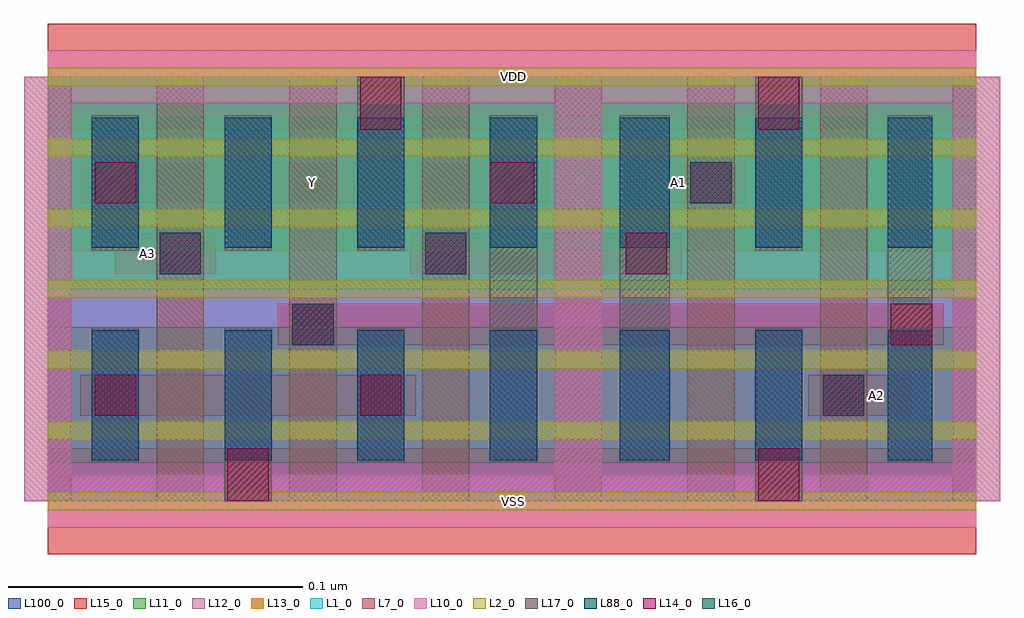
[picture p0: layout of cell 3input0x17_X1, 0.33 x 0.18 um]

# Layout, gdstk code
import gdstk
lib = gdstk.Library(unit=1e-6, precision=1e-09)
def R(c, l, rs):  # rectangles x0, y0, x1, y1
    for r in rs: c.add(gdstk.rectangle(r[:2], r[2:], *l))
def A(c, l, x, y, w, h, nx, ny, dx, dy):  # array of equal rectangles
    R(c, l, [(x+i*dx, y+j*dy, x+i*dx+w, y+j*dy+h) for i in range(nx) for j in range(ny)])
def P(c, l, *ps):  # polygons
    for p in ps: c.add(gdstk.Polygon(p, *l))
L1_0 = (1, 0)
L2_0 = (2, 0)
L7_0 = (7, 0)
L10_0 = (10, 0)
L11_0 = (11, 0)
L12_0 = (12, 0)
L13_0 = (13, 0)
L14_0 = (14, 0)
L15_0 = (15, 0)
L16_0 = (16, 0)
L17_0 = (17, 0)
L88_0 = (88, 0)
L100_0 = (100, 0)

c_3input0x17_x1 = lib.new_cell('3input0x17_X1')
R(c_3input0x17_x1, L1_0, [(0,0.072,0.315,0.144)])
A(c_3input0x17_x1, L2_0, 0, -0.003, 0.315, 0.006, 1, 7, 0, 0.024)
A(c_3input0x17_x1, L7_0, -0.008, 0, 0.016, 0.144, 8, 1, 0.045, 0)
P(c_3input0x17_x1, L10_0, [(0,-0.009),(0,0),(-0.008,0),(-0.008,0.135),(0.008,0.135),(0.008,0.009),(0.172,0.009),(0.172,0.135),(0.188,0.135),(0.188,0.009),(0.307,0.009),(0.307,0.135),(-0.008,0.135),(-0.008,0.144),(0,0.144),(0,0.153),(0.315,0.153),(0.315,0.144),(0.323,0.144),(0.323,0),(0.315,0),(0.315,-0.009)])
R(c_3input0x17_x1, L11_0, [(0,0.013,0.315,0.059), (0,0.085,0.315,0.131)])
R(c_3input0x17_x1, L12_0, [(0,0,0.315,0.072)])
R(c_3input0x17_x1, L13_0, [(0,0.072,0.315,0.144)])
R(c_3input0x17_x1, L14_0, [(0.061,0,0.075,0.018), (0.241,0,0.255,0.018), (0.016,0.029,0.03,0.043), (0.106,0.029,0.12,0.043), (0.263,0.029,0.277,0.043), (0.083,0.053,0.097,0.067), (0.286,0.053,0.3,0.067), (0.038,0.077,0.052,0.091), (0.128,0.077,0.142,0.091), (0.196,0.077,0.21,0.091), (0.016,0.101,0.03,0.115), (0.15,0.101,0.165,0.115), (0.218,0.101,0.232,0.115), (0.106,0.126,0.12,0.144), (0.241,0.126,0.255,0.144)])
R(c_3input0x17_x1, L15_0, [(0,-0.018,0.315,0.018), (0.011,0.029,0.125,0.043), (0.258,0.029,0.293,0.043), (0.078,0.053,0.304,0.067), (0.023,0.077,0.057,0.091), (0.123,0.077,0.215,0.091), (0.011,0.101,0.17,0.115), (0.203,0.101,0.237,0.115), (0,0.126,0.315,0.162)])
R(c_3input0x17_x1, L16_0, [(0.263,0.029,0.277,0.043), (0.083,0.053,0.097,0.067), (0.038,0.077,0.052,0.091), (0.128,0.077,0.142,0.091), (0.218,0.101,0.232,0.115)])
R(c_3input0x17_x1, L17_0, [(0.06,0,0.076,0.059), (0.24,0,0.256,0.059), (0.015,0.013,0.031,0.059), (0.105,0.013,0.121,0.059), (0.15,0.013,0.166,0.131), (0.194,0.013,0.211,0.131), (0.285,0.013,0.3,0.131), (0.015,0.085,0.031,0.131), (0.06,0.085,0.076,0.131), (0.105,0.085,0.121,0.144), (0.24,0.085,0.256,0.144)])
A(c_3input0x17_x1, L88_0, 0.015, 0.014, 0.016, 0.044, 4, 2, 0.045, 0.072)
R(c_3input0x17_x1, L88_0, [(0.194,0.014,0.211,0.058), (0.24,0.014,0.256,0.058), (0.285,0.014,0.3,0.058), (0.194,0.086,0.211,0.13), (0.24,0.086,0.256,0.13), (0.285,0.086,0.3,0.13)])
R(c_3input0x17_x1, L100_0, [(0,0,0.315,0.144)])
c_3input0x17_x1.add(gdstk.Label('A2', (0.281,0.036), layer=15, texttype=251))
c_3input0x17_x1.add(gdstk.Label('VSS', (0.158,0), layer=15, texttype=251))
c_3input0x17_x1.add(gdstk.Label('VDD', (0.158,0.144), layer=15, texttype=251))
c_3input0x17_x1.add(gdstk.Label('Y', (0.09,0.108), layer=15, texttype=251))
c_3input0x17_x1.add(gdstk.Label('VSS', (0.158,0), layer=15, texttype=251))
c_3input0x17_x1.add(gdstk.Label('VDD', (0.158,0.144), layer=15, texttype=251))
c_3input0x17_x1.add(gdstk.Label('A3', (0.034,0.084), layer=15, texttype=251))
c_3input0x17_x1.add(gdstk.Label('VSS', (0.158,0), layer=15, texttype=251))
c_3input0x17_x1.add(gdstk.Label('VDD', (0.158,0.144), layer=15, texttype=251))
c_3input0x17_x1.add(gdstk.Label('A1', (0.214,0.108), layer=15, texttype=251))
c_3input0x17_x1.add(gdstk.Label('VSS', (0.158,0), layer=15, texttype=251))
c_3input0x17_x1.add(gdstk.Label('VDD', (0.158,0.144), layer=15, texttype=251))
c_3input0x17_x1.add(gdstk.Label('VSS', (0.158,0), layer=3, texttype=251))
c_3input0x17_x1.add(gdstk.Label('VSS', (0.158,0), layer=3, texttype=251))
c_3input0x17_x1.add(gdstk.Label('VSS', (0.158,0), layer=3, texttype=251))
c_3input0x17_x1.add(gdstk.Label('VSS', (0.158,0), layer=3, texttype=251))
c_3input0x17_x1.add(gdstk.Label('VDD', (0.158,0.144), layer=1, texttype=251))
c_3input0x17_x1.add(gdstk.Label('VDD', (0.158,0.144), layer=1, texttype=251))
c_3input0x17_x1.add(gdstk.Label('VDD', (0.158,0.144), layer=1, texttype=251))
c_3input0x17_x1.add(gdstk.Label('VDD', (0.158,0.144), layer=1, texttype=251))

lib.write_gds('3input0x17_X1.gds')
